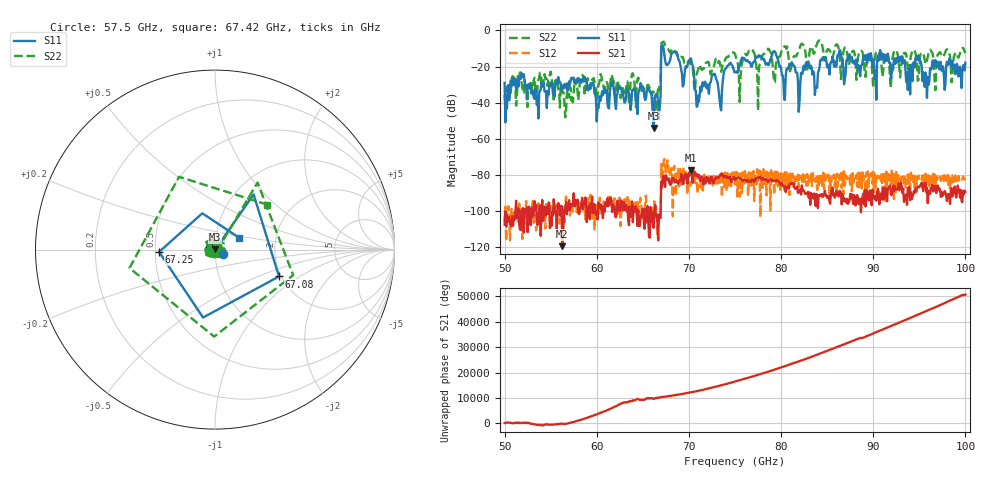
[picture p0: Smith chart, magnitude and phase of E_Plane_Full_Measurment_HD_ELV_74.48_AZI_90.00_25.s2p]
! 11/26/2026 3:27:43 PM
! C:\ANRITSUVNA\TEMP\TEMP.S2P
! CHANNEL.1
! TR.MEASUREMENT
! RAW.DATA
# HZ S RI R 50.0
! FREQ.HZ  S11RE  S11IM  S21RE  S21IM  S12RE  S12IM  S22RE  S22IM
!; PortSelection: Port_12
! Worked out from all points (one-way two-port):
!   601 points, 50 GHz to 100 GHz, reference 50 ohm
!   highest |S21| = -77.46 dB at 70.25 GHz (marker M1); lowest = -119.4 dB at 56.25 GHz (marker M2)
!   lowest |S11| = -54.0 dB at 66.17 GHz (marker M3), VSWR 1.00, Z = 50.1 + j0.144 ohm
!   |S11| at or under -10 dB: start of sweep to 67 GHz; 67.24 GHz to end of sweep
!   |S22| runs from -48.1 to -5.6 dB; largest |S21 - S12| = 0.00032
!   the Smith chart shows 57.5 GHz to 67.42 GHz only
!   S11 on the Smith chart (normalised r, x): 57.5 GHz: 1.09, -0.05; 67.08 GHz: 1.95, -0.69; 67.25 GHz: 0.52, -0.02; 67.42 GHz: 1.29, +0.18
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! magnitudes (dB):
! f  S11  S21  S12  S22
! 50 GHz  -29.0  -107.6  -105.7  -35.8
! 51.67 GHz  -26.3  -110.2  -101.3  -23.3
! 56.25 GHz  -30.4  -119.4  -99.9  -34.3
! 57.5 GHz  -26.2  -90.1  -94.8  -34.7
! 58.42 GHz  -27.1  -92.6  -95.5  -24.7
! 60.17 GHz  -43.1  -95.2  -97.3  -30.4
! 66.17 GHz  -54.0  -109.2  -97.3  -34.0
! 66.67 GHz  -41.5  -116.2  -102.1  -31.7
! 67.08 GHz  -8.3  -86.9  -82.5  -6.8
! 67.25 GHz  -10.1  -80.4  -72.7  -6.2
! 67.42 GHz  -16.6  -86.7  -74.7  -8.3
! 70.25 GHz  -16.0  -77.5  -82.6  -18.8
! 70.92 GHz  -42.1  -80.8  -90.3  -23.1
! 75 GHz  -23.3  -82.6  -85.1  -13.0
! 79.25 GHz  -11.5  -83.4  -91.0  -28.8
! 80.25 GHz  -27.9  -86.1  -80.0  -9.3
! 83.42 GHz  -24.6  -91.6  -78.9  -10.8
! 91.67 GHz  -16.8  -87.1  -82.9  -15.2
! 93.75 GHz  -32.9  -87.2  -79.6  -21.3
! 94.83 GHz  -15.0  -86.5  -82.3  -27.9
! 95.83 GHz  -37.3  -87.0  -79.5  -16.5
! 100 GHz  -17.9  -89.3  -81.5  -12.5
